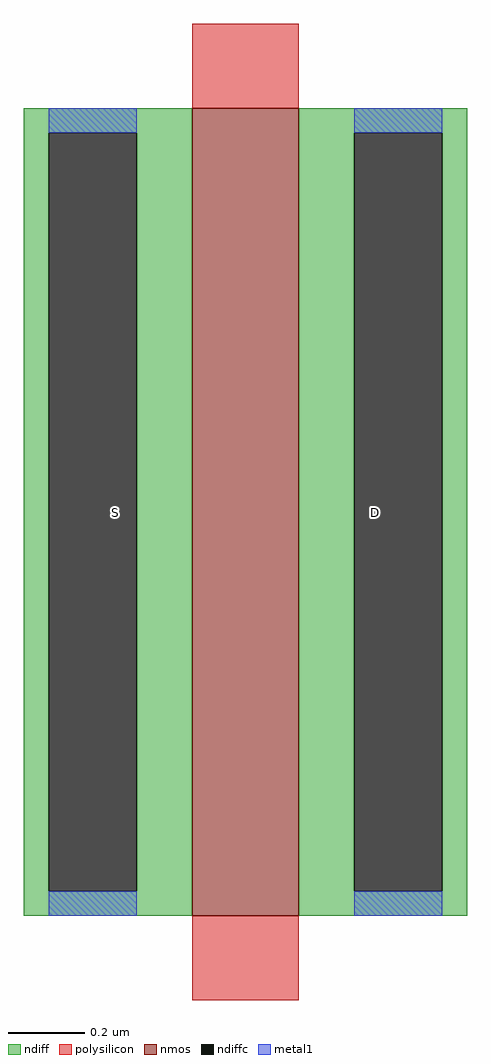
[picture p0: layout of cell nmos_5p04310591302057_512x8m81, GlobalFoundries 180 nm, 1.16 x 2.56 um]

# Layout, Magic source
magic
tech gf180mcuD
magscale 1 10
<< nmos >>
rect 0 0 56 423
<< ndiff >>
rect -88 410 0 423
rect -88 13 -75 410
rect -29 13 0 410
rect -88 0 0 13
rect 56 410 144 423
rect 56 13 85 410
rect 131 13 144 410
rect 56 0 144 13
<< ndiffc >>
rect -75 13 -29 410
rect 85 13 131 410
<< polysilicon >>
rect 0 423 56 467
rect 0 -44 56 0
<< metal1 >>
rect -75 410 -29 423
rect -75 0 -29 13
rect 85 410 131 423
rect 85 0 131 13
<< labels >>
flabel ndiffc -40 211 -40 211 0 FreeSans 93 0 0 0 S
flabel ndiffc 96 211 96 211 0 FreeSans 93 0 0 0 D
<< end >>
